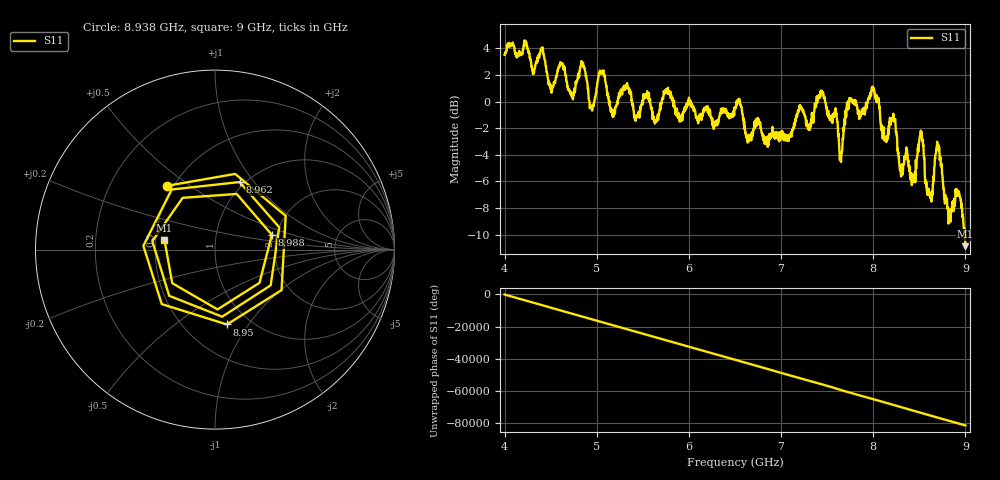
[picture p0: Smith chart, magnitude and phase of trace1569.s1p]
! Created with skrf 1.8.0 (http://scikit-rf.org).
# Hz S RI R 50.0
!freq ReS11 ImS11
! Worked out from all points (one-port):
!   1601 points, 4 GHz to 9 GHz, reference 50 ohm
!   lowest |S11| = -10.9 dB at 9 GHz (marker M1), VSWR 1.80, Z = 27.9 + j3.19 ohm
!   |S11| at or under -10 dB: 8.989838 GHz to 8.991864 GHz (2.027 MHz wide, 0.0225 % of centre); 8.995661 GHz to end of sweep
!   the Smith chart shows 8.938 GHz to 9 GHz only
!   S11 on the Smith chart (normalised r, x): 8.938 GHz: 0.46, +0.41; 8.95 GHz: 0.79, -0.80; 8.962 GHz: 0.95, +0.85; 8.988 GHz: 1.88, +0.35; 9 GHz: 0.56, +0.06
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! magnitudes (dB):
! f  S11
! 4 GHz  3.5
! 4.406 GHz  4.0
! 4.503 GHz  0.9
! 4.625 GHz  2.8
! 4.728 GHz  0.4
! 4.85 GHz  2.9
! 4.944 GHz  -0.5
! 5.05 GHz  2.1
! 5.166 GHz  -0.6
! 5.25 GHz  0.4
! 5.875 GHz  -0.9
! 6.5 GHz  -0.4
! 7.125 GHz  -2.2
! 7.447 GHz  0.8
! 7.65 GHz  -4.5
! 7.75 GHz  0.2
! 8.009 GHz  0.9
! 8.375 GHz  -4.4
! 8.434 GHz  -6.0
! 8.522 GHz  -2.3
! 8.619 GHz  -6.9
! 8.703 GHz  -3.5
! 8.812 GHz  -8.0
! 8.938 GHz  -7.0
! 8.95 GHz  -7.5
! 8.962 GHz  -7.9
! 8.988 GHz  -9.7
! 9 GHz  -10.9
